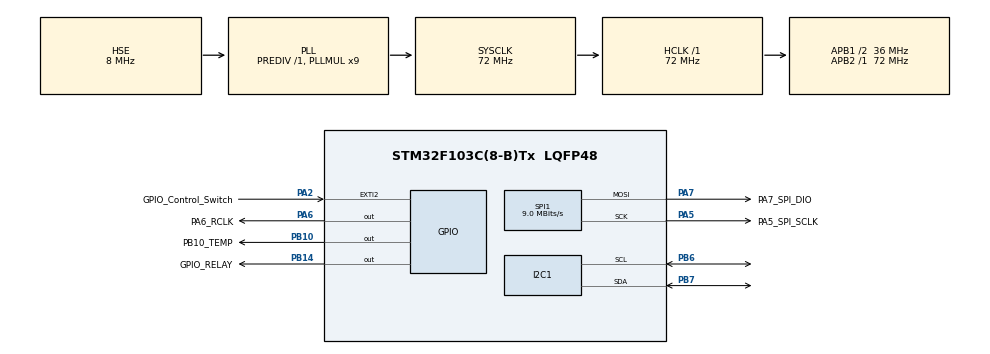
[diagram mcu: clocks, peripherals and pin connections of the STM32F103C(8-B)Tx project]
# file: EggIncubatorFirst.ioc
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I2C1.I2C_Mode=I2C_Fast
Mcu.Family=STM32F1
Mcu.Name=STM32F103C(8-B)Tx
Mcu.Package=LQFP48
NVIC.EXTI2_IRQn=true\:1\:0\:true\:false\:true\:true\:true\:true
NVIC.PriorityGroup=NVIC_PRIORITYGROUP_4
NVIC.TIM1_UP_IRQn=true\:0\:0\:false\:false\:true\:true\:true\:true
NVIC.TIM2_IRQn=true\:0\:0\:false\:false\:true\:true\:true\:true
PA13.Mode=JTAG_4_pins
PA13.Signal=SYS_JTMS-SWDIO
PA14.Mode=JTAG_4_pins
PA14.Signal=SYS_JTCK-SWCLK
PA15.Mode=JTAG_4_pins
PA15.Signal=SYS_JTDI
PA2.GPIO_Label=GPIO_Control_Switch
PA2.GPIO_ModeDefaultEXTI=GPIO_MODE_IT_FALLING
PA2.GPIO_PuPd=GPIO_PULLUP
PA2.Signal=GPXTI2
PA5.GPIO_Label=PA5_SPI_SCLK
PA5.Mode=TX_Only_Simplex_Unidirect_Master
PA5.Signal=SPI1_SCK
PA6.GPIO_Label=PA6_RCLK
PA6.GPIO_ModeDefaultOutputPP=GPIO_MODE_OUTPUT_PP
PA6.GPIO_PuPd=GPIO_PULLUP
PA6.GPIO_Speed=GPIO_SPEED_FREQ_HIGH
PA6.PinState=GPIO_PIN_RESET
PA6.Signal=GPIO_Output
PA7.GPIO_Label=PA7_SPI_DIO
PA7.Mode=TX_Only_Simplex_Unidirect_Master
PA7.Signal=SPI1_MOSI
PB10.GPIO_Label=PB10_TEMP
PB10.GPIO_PuPd=GPIO_PULLUP
PB10.GPIO_Speed=GPIO_SPEED_FREQ_HIGH
PB10.PinState=GPIO_PIN_SET
PB10.Signal=GPIO_Output
PB14.GPIO_Label=GPIO_RELAY
PB14.GPIO_PuPd=GPIO_PULLDOWN
PB14.GPIO_Speed=GPIO_SPEED_FREQ_HIGH
PB14.Signal=GPIO_Output
PB3.Mode=JTAG_4_pins
PB3.Signal=SYS_JTDO-TRACESWO
PB6.Mode=I2C
PB6.Signal=I2C1_SCL
PB7.Mode=I2C
PB7.Signal=I2C1_SDA
PC14-OSC32_IN.Mode=LSE-External-Oscillator
PC14-OSC32_IN.Signal=RCC_OSC32_IN
PC15-OSC32_OUT.Mode=LSE-External-Oscillator
PC15-OSC32_OUT.Signal=RCC_OSC32_OUT
PD0-OSC_IN.Mode=HSE-External-Oscillator
PD0-OSC_IN.Signal=RCC_OSC_IN
PD1-OSC_OUT.Mode=HSE-External-Oscillator
PD1-OSC_OUT.Signal=RCC_OSC_OUT
ProjectManager.HeapSize=0x200
ProjectManager.StackSize=0x400
ProjectManager.TargetToolchain=STM32CubeIDE
RCC.AHBFreq_Value=72000000
RCC.APB1CLKDivider=RCC_HCLK_DIV2
RCC.APB1Freq_Value=36000000
RCC.APB1TimFreq_Value=72000000
RCC.APB2Freq_Value=72000000
RCC.APB2TimFreq_Value=72000000
RCC.HCLKFreq_Value=72000000
RCC.PLLMUL=RCC_PLL_MUL9
RCC.PLLSourceVirtual=RCC_PLLSOURCE_HSE
RCC.SYSCLKFreq_VALUE=72000000
RCC.SYSCLKSource=RCC_SYSCLKSOURCE_PLLCLK
RCC.USBFreq_Value=72000000
SPI1.BaudRatePrescaler=SPI_BAUDRATEPRESCALER_8
SPI1.CLKPhase=SPI_PHASE_2EDGE
SPI1.CLKPolarity=SPI_POLARITY_HIGH
SPI1.CalculateBaudRate=9.0 MBits/s
SPI1.DataSize=SPI_DATASIZE_8BIT
SPI1.Direction=SPI_DIRECTION_2LINES
SPI1.FirstBit=SPI_FIRSTBIT_LSB
SPI1.Mode=SPI_MODE_MASTER
SPI1.VirtualType=VM_MASTER
TIM1.AutoReloadPreload=TIM_AUTORELOAD_PRELOAD_ENABLE
TIM1.Period=999
TIM1.Prescaler=(72-1)
TIM2.AutoReloadPreload=TIM_AUTORELOAD_PRELOAD_DISABLE
TIM2.Period=65535
TIM2.Prescaler=71
VP_TIM1_VS_ClockSourceINT.Mode=Internal
VP_TIM2_VS_ClockSourceINT.Mode=Internal
board=custom

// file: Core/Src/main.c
/* USER CODE BEGIN Header */
/**
  ******************************************************************************
  * @file           : main.c
  * @brief          : Main program body
  ******************************************************************************
  * @attention
  *
  * Copyright (c) 2024 STMicroelectronics.
  * All rights reserved.
  *
  * This software is licensed under terms that can be found in the LICENSE file
  * in the root directory of this software component.
  * If no LICENSE file comes with this software, it is provided AS-IS.
  *
  ******************************************************************************
  */
/* USER CODE END Header */
#include "main.h"

/* USER CODE BEGIN Includes */
#include "lcd_display.h"
#include "ds18b20.h"
#include "ssd1306.h"
#include "ssd1306_tests.h"
#include "global_vars.h"

//#include ""
/* USER CODE END Includes */

/* USER CODE BEGIN PD */
#define PREPARING 0
#define INCUBATING 1
#define COMPLETED 2

/* USER CODE END PD */

I2C_HandleTypeDef hi2c1;

SPI_HandleTypeDef hspi1;

TIM_HandleTypeDef htim1;
TIM_HandleTypeDef htim2;

/* USER CODE BEGIN PV */
static float temperature;
int global_var_control = 0;

/* USER CODE END PV */

void SystemClock_Config(void);
static void MX_GPIO_Init(void);
static void MX_SPI1_Init(void);
static void MX_TIM2_Init(void);
static void MX_TIM1_Init(void);
static void MX_I2C1_Init(void);

int main(void)
{

  /* MCU Configuration--------------------------------------------------------*/

  /* Reset of all peripherals, Initializes the Flash interface and the Systick. */
  HAL_Init();

  /* USER CODE BEGIN Init */
  static uint8_t heater_state = 0;
  //1814401 and 1814402 for time_Preparing is just a code.
  //0~1814400 is reserved since 21 x 24 x 60 x 60 is 181440
  uint32_t time_Preparing =1814401;
  uint32_t startTime = HAL_GetTick()/1000;

  uint32_t time_completed = 1814402;

  /* USER CODE END Init */

  /* Configure the system clock */
  SystemClock_Config();

  /* Initialize all configured peripherals */
  MX_GPIO_Init();
  MX_SPI1_Init();
  MX_TIM2_Init();
  MX_TIM1_Init();
  MX_I2C1_Init();
  /* USER CODE BEGIN 2 */
  Ds18b20_Init_one_device();
  ssd1306_egg_incubator_booting();
  lcd_init(&hspi1);
  HAL_TIM_Base_Start_IT(&htim1);

  /* USER CODE END 2 */

  /* Infinite loop */
  /* USER CODE BEGIN WHILE */
  while (1)
  {
      switch (global_var_control) {
          case PREPARING:
              //Tasks to perform in Preparing state

        	  if(heater_state){
        			  //turn the heater off if the heater is on in Preparing state
        			  HAL_GPIO_WritePin(GPIO_RELAY_GPIO_Port, GPIO_RELAY_Pin, 0);
        			  heater_state = 0;
        		  }
        	  display_ssd1306(&time_Preparing, "Preparing", temperature, heater_state);
              break;
          case INCUBATING:
              //Tasks to perform in Incubating state

        	  Ds18b20_Simple_Convert();
        	  temperature = my_ds18b20_Sensor.Temperature;

        	  if(heater_state){
        		  if(temperature >38){
        			  //turn the heater off
        			  HAL_GPIO_WritePin(GPIO_RELAY_GPIO_Port, GPIO_RELAY_Pin, 0);
        			  heater_state = 0;
        		  }
        	  }else{
        		  if(temperature<38){
        			  //turn the heater on
        			  HAL_GPIO_WritePin(GPIO_RELAY_GPIO_Port, GPIO_RELAY_Pin, 1);
        			  heater_state = 1;
        		  }

        	  }
        	  display_ssd1306(&startTime, "Incubating", temperature, heater_state);

              break;
          case COMPLETED:
              //Tasks to perform in Complete state
        	  //21 days in seconds, 21*60*60*24 = 1814400

        	  if(heater_state){
        			  //turn the heater off if the heater is on in Preparing state
        			  HAL_GPIO_WritePin(GPIO_RELAY_GPIO_Port, GPIO_RELAY_Pin, 0);
        			  heater_state = 0;
        		  }
        	  display_ssd1306(&time_completed, "Completed", temperature, heater_state);

              break;
      }
  }

    /* USER CODE END WHILE */

}

void SystemClock_Config(void)
{
  RCC_OscInitTypeDef RCC_OscInitStruct = {0};
  RCC_ClkInitTypeDef RCC_ClkInitStruct = {0};

  /** Initializes the RCC Oscillators according to the specified parameters
  * in the RCC_OscInitTypeDef structure.
  */
  RCC_OscInitStruct.OscillatorType = RCC_OSCILLATORTYPE_HSE;
  RCC_OscInitStruct.HSEState = RCC_HSE_ON;
  RCC_OscInitStruct.HSEPredivValue = RCC_HSE_PREDIV_DIV1;
  RCC_OscInitStruct.HSIState = RCC_HSI_ON;
  RCC_OscInitStruct.PLL.PLLState = RCC_PLL_ON;
  RCC_OscInitStruct.PLL.PLLSource = RCC_PLLSOURCE_HSE;
  RCC_OscInitStruct.PLL.PLLMUL = RCC_PLL_MUL9;
  if (HAL_RCC_OscConfig(&RCC_OscInitStruct) != HAL_OK)
  {
    Error_Handler();
  }

  /** Initializes the CPU, AHB and APB buses clocks
  */
  RCC_ClkInitStruct.ClockType = RCC_CLOCKTYPE_HCLK|RCC_CLOCKTYPE_SYSCLK
                              |RCC_CLOCKTYPE_PCLK1|RCC_CLOCKTYPE_PCLK2;
  RCC_ClkInitStruct.SYSCLKSource = RCC_SYSCLKSOURCE_PLLCLK;
  RCC_ClkInitStruct.AHBCLKDivider = RCC_SYSCLK_DIV1;
  RCC_ClkInitStruct.APB1CLKDivider = RCC_HCLK_DIV2;
  RCC_ClkInitStruct.APB2CLKDivider = RCC_HCLK_DIV1;

  if (HAL_RCC_ClockConfig(&RCC_ClkInitStruct, FLASH_LATENCY_2) != HAL_OK)
  {
    Error_Handler();
  }
}

static void MX_I2C1_Init(void)
{

  hi2c1.Instance = I2C1;
  hi2c1.Init.ClockSpeed = 400000;
  hi2c1.Init.DutyCycle = I2C_DUTYCYCLE_2;
  hi2c1.Init.OwnAddress1 = 0;
  hi2c1.Init.AddressingMode = I2C_ADDRESSINGMODE_7BIT;
  hi2c1.Init.DualAddressMode = I2C_DUALADDRESS_DISABLE;
  hi2c1.Init.OwnAddress2 = 0;
  hi2c1.Init.GeneralCallMode = I2C_GENERALCALL_DISABLE;
  hi2c1.Init.NoStretchMode = I2C_NOSTRETCH_DISABLE;
  if (HAL_I2C_Init(&hi2c1) != HAL_OK)
  {
    Error_Handler();
  }

}

static void MX_SPI1_Init(void)
{

  /* SPI1 parameter configuration*/
  hspi1.Instance = SPI1;
  hspi1.Init.Mode = SPI_MODE_MASTER;
  hspi1.Init.Direction = SPI_DIRECTION_2LINES;
  hspi1.Init.DataSize = SPI_DATASIZE_8BIT;
  hspi1.Init.CLKPolarity = SPI_POLARITY_HIGH;
  hspi1.Init.CLKPhase = SPI_PHASE_2EDGE;
  hspi1.Init.NSS = SPI_NSS_SOFT;
  hspi1.Init.BaudRatePrescaler = SPI_BAUDRATEPRESCALER_8;
  hspi1.Init.FirstBit = SPI_FIRSTBIT_LSB;
  hspi1.Init.TIMode = SPI_TIMODE_DISABLE;
  hspi1.Init.CRCCalculation = SPI_CRCCALCULATION_DISABLE;
  hspi1.Init.CRCPolynomial = 10;
  if (HAL_SPI_Init(&hspi1) != HAL_OK)
  {
    Error_Handler();
  }

}

static void MX_TIM1_Init(void)
{

  TIM_ClockConfigTypeDef sClockSourceConfig = {0};
  TIM_MasterConfigTypeDef sMasterConfig = {0};

  htim1.Instance = TIM1;
  htim1.Init.Prescaler = (72-1);
  htim1.Init.CounterMode = TIM_COUNTERMODE_UP;
  htim1.Init.Period = 999;
  htim1.Init.ClockDivision = TIM_CLOCKDIVISION_DIV1;
  htim1.Init.RepetitionCounter = 0;
  htim1.Init.AutoReloadPreload = TIM_AUTORELOAD_PRELOAD_ENABLE;
  if (HAL_TIM_Base_Init(&htim1) != HAL_OK)
  {
    Error_Handler();
  }
  sClockSourceConfig.ClockSource = TIM_CLOCKSOURCE_INTERNAL;
  if (HAL_TIM_ConfigClockSource(&htim1, &sClockSourceConfig) != HAL_OK)
  {
    Error_Handler();
  }
  sMasterConfig.MasterOutputTrigger = TIM_TRGO_RESET;
  sMasterConfig.MasterSlaveMode = TIM_MASTERSLAVEMODE_DISABLE;
  if (HAL_TIMEx_MasterConfigSynchronization(&htim1, &sMasterConfig) != HAL_OK)
  {
    Error_Handler();
  }

}

static void MX_TIM2_Init(void)
{

  TIM_ClockConfigTypeDef sClockSourceConfig = {0};
  TIM_MasterConfigTypeDef sMasterConfig = {0};

  htim2.Instance = TIM2;
  htim2.Init.Prescaler = 71;
  htim2.Init.CounterMode = TIM_COUNTERMODE_UP;
  htim2.Init.Period = 65535;
  htim2.Init.ClockDivision = TIM_CLOCKDIVISION_DIV1;
  htim2.Init.AutoReloadPreload = TIM_AUTORELOAD_PRELOAD_DISABLE;
  if (HAL_TIM_Base_Init(&htim2) != HAL_OK)
  {
    Error_Handler();
  }
  sClockSourceConfig.ClockSource = TIM_CLOCKSOURCE_INTERNAL;
  if (HAL_TIM_ConfigClockSource(&htim2, &sClockSourceConfig) != HAL_OK)
  {
    Error_Handler();
  }
  sMasterConfig.MasterOutputTrigger = TIM_TRGO_RESET;
  sMasterConfig.MasterSlaveMode = TIM_MASTERSLAVEMODE_DISABLE;
  if (HAL_TIMEx_MasterConfigSynchronization(&htim2, &sMasterConfig) != HAL_OK)
  {
    Error_Handler();
  }

}

static void MX_GPIO_Init(void)
{
  GPIO_InitTypeDef GPIO_InitStruct = {0};

  /* GPIO Ports Clock Enable */
  __HAL_RCC_GPIOC_CLK_ENABLE();
  __HAL_RCC_GPIOD_CLK_ENABLE();
  __HAL_RCC_GPIOA_CLK_ENABLE();
  __HAL_RCC_GPIOB_CLK_ENABLE();

  /*Configure GPIO pin Output Level */
  HAL_GPIO_WritePin(PA6_RCLK_GPIO_Port, PA6_RCLK_Pin, GPIO_PIN_RESET);

  /*Configure GPIO pin Output Level */
  HAL_GPIO_WritePin(PB10_TEMP_GPIO_Port, PB10_TEMP_Pin, GPIO_PIN_SET);

  /*Configure GPIO pin Output Level */
  HAL_GPIO_WritePin(GPIO_RELAY_GPIO_Port, GPIO_RELAY_Pin, GPIO_PIN_RESET);

  /*Configure GPIO pin : GPIO_Control_Switch_Pin */
  GPIO_InitStruct.Pin = GPIO_Control_Switch_Pin;
  GPIO_InitStruct.Mode = GPIO_MODE_IT_FALLING;
  GPIO_InitStruct.Pull = GPIO_PULLUP;
  HAL_GPIO_Init(GPIO_Control_Switch_GPIO_Port, &GPIO_InitStruct);

  /*Configure GPIO pin : PA6_RCLK_Pin */
  GPIO_InitStruct.Pin = PA6_RCLK_Pin;
  GPIO_InitStruct.Mode = GPIO_MODE_OUTPUT_PP;
  GPIO_InitStruct.Pull = GPIO_PULLUP;
  GPIO_InitStruct.Speed = GPIO_SPEED_FREQ_HIGH;
  HAL_GPIO_Init(PA6_RCLK_GPIO_Port, &GPIO_InitStruct);

  /*Configure GPIO pin : PB10_TEMP_Pin */
  GPIO_InitStruct.Pin = PB10_TEMP_Pin;
  GPIO_InitStruct.Mode = GPIO_MODE_OUTPUT_PP;
  GPIO_InitStruct.Pull = GPIO_PULLUP;
  GPIO_InitStruct.Speed = GPIO_SPEED_FREQ_HIGH;
  HAL_GPIO_Init(PB10_TEMP_GPIO_Port, &GPIO_InitStruct);

  /*Configure GPIO pin : GPIO_RELAY_Pin */
  GPIO_InitStruct.Pin = GPIO_RELAY_Pin;
  GPIO_InitStruct.Mode = GPIO_MODE_OUTPUT_PP;
  GPIO_InitStruct.Pull = GPIO_PULLDOWN;
  GPIO_InitStruct.Speed = GPIO_SPEED_FREQ_HIGH;
  HAL_GPIO_Init(GPIO_RELAY_GPIO_Port, &GPIO_InitStruct);

  /* EXTI interrupt init*/
  HAL_NVIC_SetPriority(EXTI2_IRQn, 1, 0);
  HAL_NVIC_EnableIRQ(EXTI2_IRQn);

}

void Error_Handler(void)
{
  __disable_irq();
  while (1)
  {
  }
}
